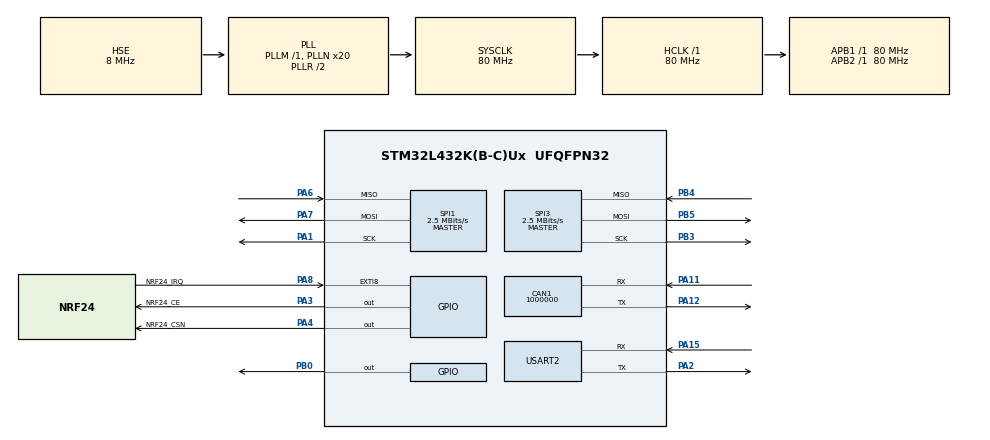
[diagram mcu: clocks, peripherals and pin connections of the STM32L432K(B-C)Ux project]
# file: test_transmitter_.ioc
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Mcu.Family=STM32L4
PA6.Mode=Full_Duplex_Master
RCC.CortexFreq_Value=80000000
SPI3.Direction=SPI_DIRECTION_2LINES
SPI3.VirtualType=VM_MASTER
FATFS._USE_LFN=1
SPI1.VirtualType=VM_MASTER
VP_RTC_VS_RTC_Activate.Mode=RTC_Enabled
PA11.Mode=CAN_Activate
PA15\ (JTDI).Signal=USART2_RX
PC15-OSC32_OUT\ (PC15).Mode=LSE-External-Oscillator
PA3.GPIO_Speed=GPIO_SPEED_FREQ_HIGH
RCC.SYSCLKSource=RCC_SYSCLKSOURCE_PLLCLK
ProjectManager.StackSize=0x400
PB3\ (JTDO-TRACESWO).Signal=SPI3_SCK
PC14-OSC32_IN\ (PC14).Mode=LSE-External-Oscillator
PA14\ (JTCK-SWCLK).Signal=SYS_JTCK-SWCLK
PA15\ (JTDI).Mode=Asynchronous
PA12.Signal=CAN1_TX
SPI1.Direction=SPI_DIRECTION_2LINES
RCC.HCLKFreq_Value=80000000
RCC.APB2TimFreq_Value=80000000
SPI1.CalculateBaudRate=2.5 MBits/s
RCC.AHBFreq_Value=80000000
SPI3.DataSize=SPI_DATASIZE_8BIT
RCC.HSE_VALUE=8000000
USART2.VirtualMode-Asynchronous=VM_ASYNC
RCC.RTCClockSelection=RCC_RTCCLKSOURCE_LSE
PA4.GPIO_Speed=GPIO_SPEED_FREQ_HIGH
RTC.Month=RTC_MONTH_JULY
SPI1.DataSize=SPI_DATASIZE_8BIT
PB5.Mode=Full_Duplex_Master
PA0.Mode=HSE-External-Clock-Source-for-LittleOrca
PA8.Signal=GPXTI8
PA0.Signal=RCC_CK_IN
Mcu.Package=UFQFPN32
PA6.Signal=SPI1_MISO
SPI3.Mode=SPI_MODE_MASTER
PA8.GPIO_ModeDefaultEXTI=GPIO_MODE_IT_FALLING
VP_RTC_VS_RTC_Calendar.Mode=RTC_Calendar
RCC.APB1TimFreq_Value=80000000
PA13\ (JTMS-SWDIO).Signal=SYS_JTMS-SWDIO
SPI1.BaudRatePrescaler=SPI_BAUDRATEPRESCALER_32
CAN1.CalculateTimeBit=1000.00
PA4.GPIO_Label=NRF24_CSN
RCC.MSIClockRange=RCC_MSIRANGE_11
RCC.HSI48_VALUE=48000000
PA3.Signal=GPIO_Output
CAN1.CalculateTimeQuantum=200.0
RCC.MSI_VALUE=48000000
RCC.PLLSourceVirtual=RCC_PLLSOURCE_HSE
PA14\ (JTCK-SWCLK).Mode=Serial_Wire
PA7.Mode=Full_Duplex_Master
CAN1.CalculateBaudRate=1000000
PC15-OSC32_OUT\ (PC15).Signal=RCC_OSC32_OUT
PA8.GPIO_Label=NRF24_IRQ
CAN1.BS2=CAN_BS2_2TQ
CAN1.BS1=CAN_BS1_2TQ
ProjectManager.TargetToolchain=STM32CubeIDE
RTC.Year=21
RTC.Format=RTC_FORMAT_BIN
RCC.USBFreq_Value=32000000
PA1.Signal=SPI1_SCK
VP_FATFS_VS_Generic.Mode=User_defined
board=custom
RCC.VCOOutputFreq_Value=160000000
RCC.APB2Freq_Value=80000000
PA1.Mode=Full_Duplex_Master
SPI3.CalculateBaudRate=2.5 MBits/s
SPI1.Mode=SPI_MODE_MASTER
PB3\ (JTDO-TRACESWO).Mode=Full_Duplex_Master
RCC.ADCFreq_Value=32000000
SPI3.BaudRatePrescaler=SPI_BAUDRATEPRESCALER_32
PB4\ (NJTRST).Mode=Full_Duplex_Master
Mcu.Name=STM32L432K(B-C)Ux
PA2.Signal=USART2_TX
FATFS._MAX_SS=4096
PA13\ (JTMS-SWDIO).Mode=Serial_Wire
PA4.Signal=GPIO_Output
RCC.SYSCLKFreq_VALUE=80000000
PB5.Signal=SPI3_MOSI
PA12.Mode=CAN_Activate
PC14-OSC32_IN\ (PC14).Signal=RCC_OSC32_IN
PA11.Signal=CAN1_RX
NVIC.EXTI9_5_IRQn=true\:0\:0\:false\:false\:true\:true\:true
ProjectManager.HeapSize=0x200
RCC.HSI_VALUE=16000000
NVIC.PriorityGroup=NVIC_PRIORITYGROUP_4
RCC.PLLN=20
PA2.Mode=Asynchronous
RCC.APB1Freq_Value=80000000
PB0.Signal=GPIO_Output
RTC.Date=6
NVIC.CAN1_RX0_IRQn=true\:0\:0\:false\:false\:true\:true\:true
PA3.GPIO_Label=NRF24_CE
PA7.Signal=SPI1_MOSI
PB4\ (NJTRST).Signal=SPI3_MISO

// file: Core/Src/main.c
/* USER CODE BEGIN Header */
/*
 *  main.c
 *
 *  Created on: September 6, 2021
 *  Company: Polsl Racing
 *  Department: Electronics Team
 *  Author: Tomasz Pelan
 */
/**
  ******************************************************************************
  * @file           : main.c
  * @brief          : Main program body
  ******************************************************************************
  * @attention
  *
  * <h2><center>&copy; Copyright (c) 2021 STMicroelectronics.
  * All rights reserved.</center></h2>
  *
  * This software component is licensed by ST under BSD 3-Clause license,
  * the "License"; You may not use this file except in compliance with the
  * License. You may obtain a copy of the License at:
  *                        opensource.org/licenses/BSD-3-Clause
  *
  ******************************************************************************
  */
/* USER CODE END Header */
#include "main.h"
#include "can.h"
#include "fatfs.h"
#include "rtc.h"
#include "spi.h"
#include "usart.h"
#include "gpio.h"

/* USER CODE BEGIN Includes */

#include "stdio.h"
#include "fatfs_sd.h"
#include "string.h"
#include <stdbool.h>
#include <NRF24/nRF24.h>
#include <NRF24/nRF24_Defs.h>
#include <Buffer/frame.h>
#include <SD/SD_helpers.h>
/* USER CODE END Includes */

/* USER CODE BEGIN PD */
#define CAN_DATA_LENGTH 8
#define FILENAME_BUFFER_LENGTH 35
#define SD_CARD_MOUNT_IMMEDIATELY 1
#define TIME_SECONDS_IN_HOUR 3600
#define TIME_MINUTES_IN_HOUR 60
#define TIME_MILISECONDS_IN_SECOND 1000000
#define SECOND_MILLENIUM 2000
/* USER CODE END PD */

void SystemClock_Config(void);
/* USER CODE BEGIN PFP */
static void readDataToBuffer(void);
/* USER CODE END PFP */

/* USER CODE BEGIN 0 */

/* SD Card-related variables */
FATFS fs = {0};
FIL fil = {0};
FRESULT fresult = {0};
char filename[FILENAME_BUFFER_LENGTH] = {0};
UINT bw = 0;
uint8_t counterSD = 0;

/* CAN-related variables */
CAN_RxHeaderTypeDef rxHeader = {0};
uint8_t rxData[CAN_DATA_LENGTH] = {0};

/* CAN buffer */
Frame bufferingFrame = {0};

/* RTC-related variables */
RTC_TimeTypeDef currentTime = {0};
RTC_DateTypeDef currentDate = {0};
uint32_t miliseconds = 0;
uint32_t seconds = 0;

/* IRQ-related variables */
bool interruptFlag = false;

/* Radio module-related variables */
const uint8_t* rxAddress = (uint8_t*)"Nad";
const uint8_t* txAddress = (uint8_t*)"Odb";

/* USER CODE END 0 */

int main(void)
{

  /* MCU Configuration--------------------------------------------------------*/

  /* Reset of all peripherals, Initializes the Flash interface and the Systick. */
  HAL_Init();

  /* Configure the system clock */
  SystemClock_Config();

  /* Initialize all configured peripherals */
  MX_GPIO_Init();
  MX_SPI1_Init();
  MX_CAN1_Init();
  MX_RTC_Init();
  MX_USART2_UART_Init();
  MX_SPI3_Init();
  MX_FATFS_Init();
  /* USER CODE BEGIN 2 */

  /* CAN init */
  HAL_CAN_Start(&hcan1);
  HAL_CAN_ActivateNotification(&hcan1, CAN_IT_RX_FIFO0_MSG_PENDING);

  /* Radio module init */
  nRF24_Init(&hspi3);
  nRF24_SetRXAddress(0, rxAddress);
  nRF24_SetTXAddress(txAddress);
  nRF24_TX_Mode();

  /* SD card mount */
   fresult = f_mount(&fs, "/", SD_CARD_MOUNT_IMMEDIATELY);

  /* Handle naming of file on SD card */
   HAL_RTC_GetTime(&hrtc, &currentTime, RTC_FORMAT_BIN);
   HAL_RTC_GetDate(&hrtc, &currentDate, RTC_FORMAT_BIN);
   miliseconds = ((currentTime.SecondFraction - currentTime.SubSeconds)/((float)currentTime.SecondFraction+1) * TIME_MILISECONDS_IN_SECOND);
   sprintf(filename, "LOG_%02d%02d%d_%02d%02d_%02d_%lu.txt", currentDate.Date,
		   currentDate.Month, currentDate.Year + SECOND_MILLENIUM, currentTime.Hours,
		   currentTime.Minutes, currentTime.Seconds, miliseconds);
  /* USER CODE END 2 */

  /* Infinite loop */
  /* USER CODE BEGIN WHILE */
  while (1)
  {

	  /* Radio module interrupt checker */
	  nRF24_Event();

	  /* Handling of received packet */
	  if(interruptFlag)
	  {
		 readDataToBuffer();
	  }

    /* USER CODE END WHILE */

  }
}

void SystemClock_Config(void)
{
  RCC_OscInitTypeDef RCC_OscInitStruct = {0};
  RCC_ClkInitTypeDef RCC_ClkInitStruct = {0};
  RCC_PeriphCLKInitTypeDef PeriphClkInit = {0};

  /** Configure LSE Drive Capability
  */
  HAL_PWR_EnableBkUpAccess();
  __HAL_RCC_LSEDRIVE_CONFIG(RCC_LSEDRIVE_LOW);
  /** Initializes the RCC Oscillators according to the specified parameters
  * in the RCC_OscInitTypeDef structure.
  */
  RCC_OscInitStruct.OscillatorType = RCC_OSCILLATORTYPE_HSE|RCC_OSCILLATORTYPE_LSE;
  RCC_OscInitStruct.HSEState = RCC_HSE_BYPASS;
  RCC_OscInitStruct.LSEState = RCC_LSE_ON;
  RCC_OscInitStruct.PLL.PLLState = RCC_PLL_ON;
  RCC_OscInitStruct.PLL.PLLSource = RCC_PLLSOURCE_HSE;
  RCC_OscInitStruct.PLL.PLLM = 1;
  RCC_OscInitStruct.PLL.PLLN = 20;
  RCC_OscInitStruct.PLL.PLLP = RCC_PLLP_DIV7;
  RCC_OscInitStruct.PLL.PLLQ = RCC_PLLQ_DIV2;
  RCC_OscInitStruct.PLL.PLLR = RCC_PLLR_DIV2;
  if (HAL_RCC_OscConfig(&RCC_OscInitStruct) != HAL_OK)
  {
    Error_Handler();
  }
  /** Initializes the CPU, AHB and APB buses clocks
  */
  RCC_ClkInitStruct.ClockType = RCC_CLOCKTYPE_HCLK|RCC_CLOCKTYPE_SYSCLK
                              |RCC_CLOCKTYPE_PCLK1|RCC_CLOCKTYPE_PCLK2;
  RCC_ClkInitStruct.SYSCLKSource = RCC_SYSCLKSOURCE_PLLCLK;
  RCC_ClkInitStruct.AHBCLKDivider = RCC_SYSCLK_DIV1;
  RCC_ClkInitStruct.APB1CLKDivider = RCC_HCLK_DIV1;
  RCC_ClkInitStruct.APB2CLKDivider = RCC_HCLK_DIV1;

  if (HAL_RCC_ClockConfig(&RCC_ClkInitStruct, FLASH_LATENCY_4) != HAL_OK)
  {
    Error_Handler();
  }
  PeriphClkInit.PeriphClockSelection = RCC_PERIPHCLK_RTC|RCC_PERIPHCLK_USART2;
  PeriphClkInit.Usart2ClockSelection = RCC_USART2CLKSOURCE_PCLK1;
  PeriphClkInit.RTCClockSelection = RCC_RTCCLKSOURCE_LSE;
  if (HAL_RCCEx_PeriphCLKConfig(&PeriphClkInit) != HAL_OK)
  {
    Error_Handler();
  }
  /** Configure the main internal regulator output voltage
  */
  if (HAL_PWREx_ControlVoltageScaling(PWR_REGULATOR_VOLTAGE_SCALE1) != HAL_OK)
  {
    Error_Handler();
  }
}

/* USER CODE BEGIN 4 */

/* Radio module interrupt callback */
void HAL_GPIO_EXTI_Callback(uint16_t GPIO_Pin)
 {
	if(GPIO_Pin == NRF24_IRQ_Pin)
	{
		nRF24_IRQ_Handler();
	}
}

/* CAN message received callback */
void HAL_CAN_RxFifo0MsgPendingCallback(CAN_HandleTypeDef* hcan)
{
	HAL_CAN_GetRxMessage(hcan, CAN_RX_FIFO0, &rxHeader, rxData);
	interruptFlag = true;
}

/* Function reads data, pack it into buffer and save data to SD card */
static void readDataToBuffer(void)
{
	HAL_RTC_GetTime(&hrtc, &currentTime, RTC_FORMAT_BIN);
	HAL_RTC_GetDate(&hrtc, &currentDate, RTC_FORMAT_BIN);
	bufferingFrame.year = currentDate.Year;
	bufferingFrame.month = currentDate.Month;
	bufferingFrame.day = currentDate.Date;
	bufferingFrame.hours = currentTime.Hours;
	bufferingFrame.minutes = currentTime.Minutes;
	bufferingFrame.seconds = currentTime.Seconds;
	miliseconds = ((currentTime.SecondFraction - currentTime.SubSeconds)/((float)currentTime.SecondFraction+1) * TIME_MILISECONDS_IN_SECOND);
	seconds = TIME_SECONDS_IN_HOUR * currentTime.Hours + TIME_MINUTES_IN_HOUR * currentTime.Minutes + currentTime.Seconds;
	memcpy(bufferingFrame.frameData, rxData, CAN_DATA_LENGTH);

	bufferingFrame.frameDLC = rxHeader.DLC;
	bufferingFrame.frameIDE = rxHeader.IDE;
	bufferingFrame.frameRTR = rxHeader.RTR;
	bufferingFrame.frameStdID = rxHeader.StdId;

	writeFrameToSDCard(&bufferingFrame);
	nRF24_SendData((uint8_t*)&bufferingFrame, sizeof(Frame));

	interruptFlag = false;
}

/* USER CODE END 4 */

void Error_Handler(void)
{
  __disable_irq();
  while (1)
  {
  }
}

/************************ (C) COPYRIGHT STMicroelectronics *****END OF FILE****/
